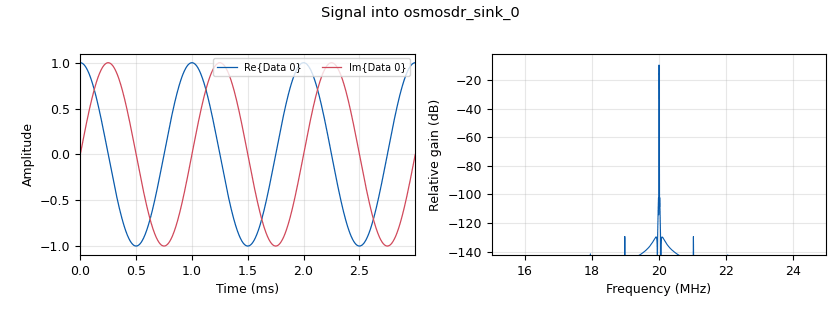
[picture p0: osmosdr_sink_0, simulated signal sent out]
options:
  parameters:
    generate_options: qt_gui
    id: Signal_Generator
    output_language: python
    title: Signal Generator
  states: {}

blocks:
- name: bb_gain
  id: variable_qtgui_range
  parameters:
    label: BB Gain
    start: '0'
    step: '0.3'
    stop: '47'
    value: '0'
  states: {}
- name: frequency
  id: variable_qtgui_range
  parameters:
    label: Frequency
    start: 1e6
    step: 1e6
    stop: 400e6
    value: 20e6
  states: {}
- name: if_gain
  id: variable_qtgui_range
  parameters:
    label: IF Gain
    start: '0'
    step: '0.3'
    stop: '47'
    value: '0'
  states: {}
- name: rf_gain
  id: variable_qtgui_range
  parameters:
    label: RF Gain
    start: '0'
    step: '1'
    stop: '47'
    value: '0'
  states: {}
- name: samp_rate
  id: variable
  parameters:
    value: 10e6
  states: {}
- name: analog_sig_source_x_0
  id: analog_sig_source_x
  parameters:
    amp: '1'
    freq: '1000'
    offset: '0'
    phase: '0'
    samp_rate: samp_rate
    type: complex
    waveform: analog.GR_COS_WAVE
  states: {}
- name: osmosdr_sink_0
  id: osmosdr_sink
  parameters:
    args: hackrf=0
    bb_gain0: bb_gain
    comment: |-
      1) Connect the HackRF/Portapack to the computer via the USB port.
      2) Put a DC Block at the oscilloscope.
      3) Connect the antenna port of the HackRF to the oscilloscope 
      4) Turn on the Portapack and select the HackRF option. 
      5) Put a 50 ohm terminator at the oscilloscope.
      6) Run the script and view the waveform on the oscilloscope and 
      usng the scope's FFT.

      Note: to use an external clock:
      1) set Device arguments to: 
      hackrf=0,clock_source=external
      2) connect the clock to the CLKIN port on the HackRF.
      Make sure the clock voltage levels are acceptible.
    freq0: frequency
    gain0: rf_gain
    if_gain0: if_gain
    sample_rate: samp_rate
    sync: sync
    type: fc32
  states: {}

connections:
- [analog_sig_source_x_0, '0', osmosdr_sink_0, '0']

metadata:
  file_format: 1
  grc_version: 3.10.9.2
